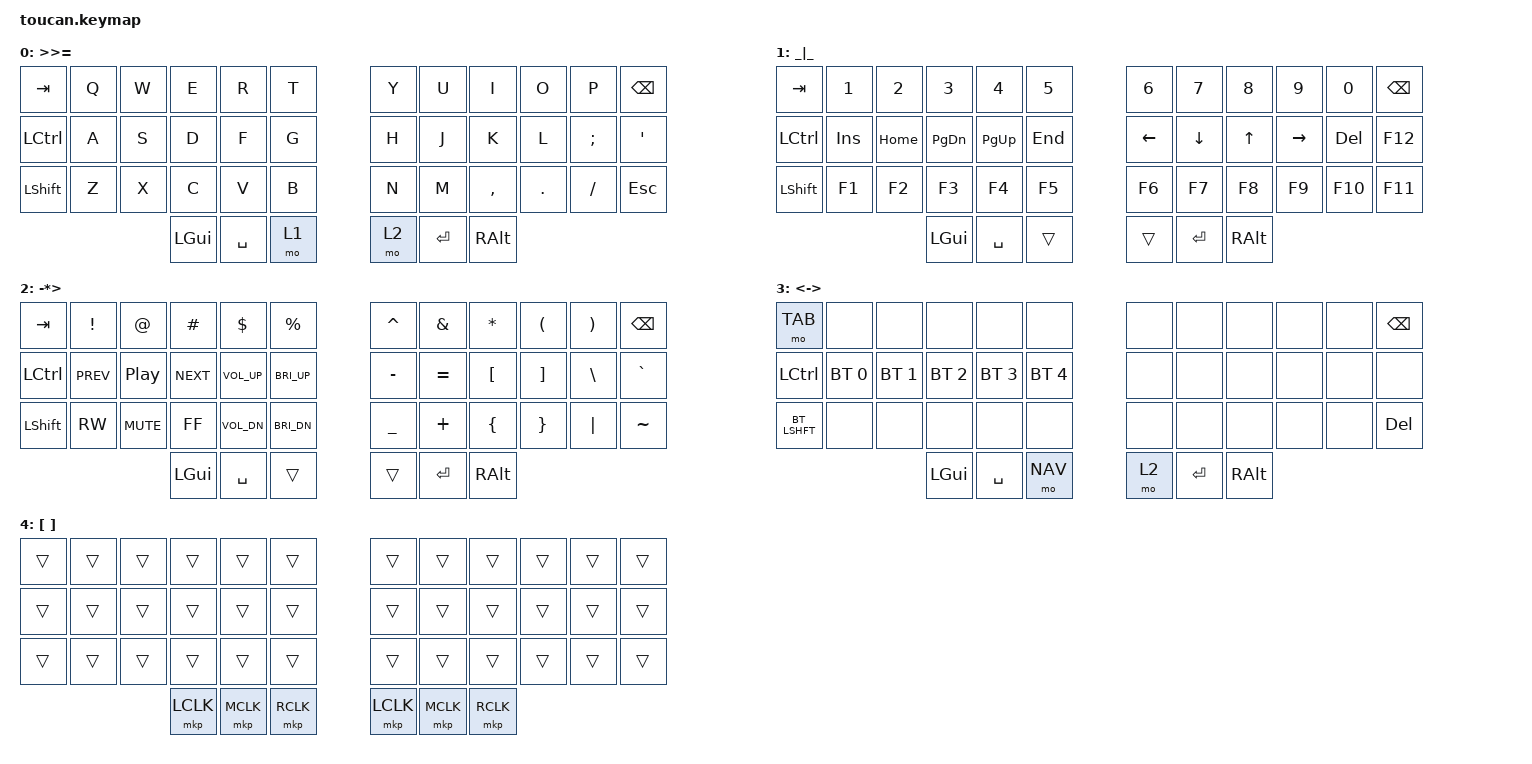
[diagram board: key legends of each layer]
#include <behaviors.dtsi>
#include <dt-bindings/zmk/keys.h>
#include <dt-bindings/zmk/bt.h>
#include <dt-bindings/zmk/outputs.h>
#include <dt-bindings/zmk/pointing.h>

#define BASE 0
#define NAV  1
#define SYM  2
#define ADJ  3

/ {
    conditional_layers {
        compatible = "zmk,conditional-layers";
        tri_layer {
            if-layers = <1 2>;
            then-layer = <3>;
        };
    };

    keymap {
        compatible = "zmk,keymap";

        base {
            display-name = ">>=";
            bindings = <
                &kp TAB   &kp Q &kp W &kp E &kp R &kp T   &kp Y &kp U  &kp I     &kp O   &kp P    &kp BSPC
                &kp LCTRL &kp A &kp S &kp D &kp F &kp G   &kp H &kp J  &kp K     &kp L   &kp SEMI &kp SQT
                &kp LSHFT &kp Z &kp X &kp C &kp V &kp B   &kp N &kp M  &kp COMMA &kp DOT &kp FSLH &kp ESC
                               &kp LGUI &kp SPACE &mo 1   &mo 2 &kp RET &kp RALT
            >;
        };

        nav {
            display-name = "_|_";
            bindings = <
                &kp TAB    &kp N1  &kp N2   &kp N3    &kp N4    &kp N5    &kp N6   &kp N7   &kp N8 &kp N9    &kp N0  &kp BSPC
                &kp LCTRL  &kp INS &kp HOME &kp PG_DN &kp PG_UP &kp END   &kp LEFT &kp DOWN &kp UP &kp RIGHT &kp DEL &kp F12
                &kp LSHFT  &kp F1  &kp F2   &kp F3    &kp F4    &kp F5    &kp F6   &kp F7   &kp F8 &kp F9    &kp F10 &kp F11
                                            &kp LGUI  &kp SPACE &trans    &trans   &kp RET  &kp RALT
            >;
        };

        sym {
            display-name = "-*>";
            bindings = <
                &kp TAB   &kp EXCL   &kp AT     &kp HASH   &kp DLLR     &kp PRCNT     &kp CARET &kp AMPS  &kp STAR &kp LPAR &kp RPAR &kp BSPC
                &kp LCTRL &kp C_PREV &kp C_PP   &kp C_NEXT &kp C_VOL_UP &kp C_BRI_UP  &kp MINUS &kp EQUAL &kp LBKT &kp RBKT &kp BSLH &kp GRAVE
                &kp LSHFT &kp C_RW   &kp C_MUTE &kp C_FF   &kp C_VOL_DN &kp C_BRI_DN  &kp UNDER &kp PLUS  &kp LBRC &kp RBRC &kp PIPE &kp TILDE
                                                &kp LGUI   &kp SPACE    &trans        &trans    &kp RET   &kp RALT
            >;
        };

        con {
            display-name = "<->";
            bindings = <
                &mo TAB   &none        &none        &none        &none        &none         &none  &none   &none    &none &none &kp BSPC
                &kp LCTRL &bt BT_SEL 0 &bt BT_SEL 1 &bt BT_SEL 2 &bt BT_SEL 3 &bt BT_SEL 4  &none  &none   &none    &none &none &none 
                &bt LSHFT &none        &none        &none        &none        &none         &none  &none   &none    &none &none &kp DEL
                                                    &kp LGUI     &kp SPACE    &mo NAV       &mo 2  &kp RET &kp RALT
            >;
        };


        mouse {
            display-name = "[ ]";
            bindings = <
                &trans &trans &trans &trans &trans &trans           &trans &trans &trans &trans &trans &trans
                &trans &trans &trans &trans &trans &trans           &trans &trans &trans &trans &trans &trans
                &trans &trans &trans &trans &trans &trans           &trans &trans &trans &trans &trans &trans
                            &mkp LCLK &mkp MCLK &mkp RCLK           &mkp LCLK &mkp MCLK &mkp RCLK
            >;
        };

        extra_2 {
                status = "reserved";
        };

        extra_3 {
                status = "reserved";
        };
    };
};
